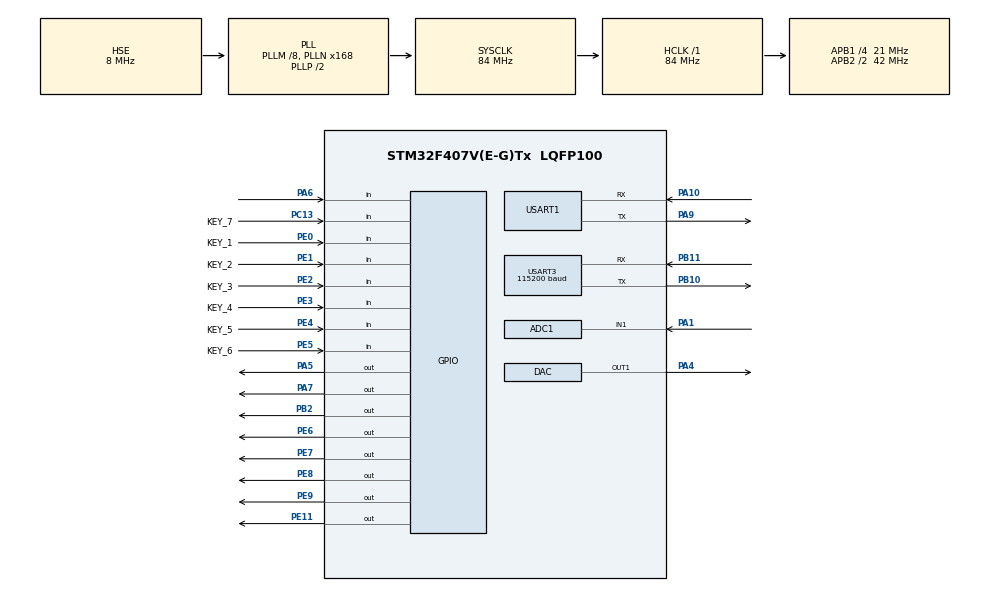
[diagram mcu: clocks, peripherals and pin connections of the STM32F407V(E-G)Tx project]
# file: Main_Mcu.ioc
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ADC1.Channel-0\#ChannelRegularConversion=ADC_CHANNEL_1
ADC1.NbrOfConversionFlag=1
ADC1.Rank-0\#ChannelRegularConversion=1
ADC1.SamplingTime-0\#ChannelRegularConversion=ADC_SAMPLETIME_3CYCLES
ADC1.master=1
DAC.DAC_OutputBuffer=DAC_OUTPUTBUFFER_DISABLE
Dma.Request0=USART3_TX
Dma.Request1=USART3_RX
Dma.Request2=USART1_RX
Dma.USART1_RX.2.Direction=DMA_PERIPH_TO_MEMORY
Dma.USART1_RX.2.FIFOMode=DMA_FIFOMODE_DISABLE
Dma.USART1_RX.2.Instance=DMA2_Stream2
Dma.USART1_RX.2.MemDataAlignment=DMA_MDATAALIGN_BYTE
Dma.USART1_RX.2.MemInc=DMA_MINC_ENABLE
Dma.USART1_RX.2.Mode=DMA_NORMAL
Dma.USART1_RX.2.PeriphDataAlignment=DMA_PDATAALIGN_BYTE
Dma.USART1_RX.2.PeriphInc=DMA_PINC_DISABLE
Dma.USART1_RX.2.Priority=DMA_PRIORITY_LOW
Dma.USART3_RX.1.Direction=DMA_PERIPH_TO_MEMORY
Dma.USART3_RX.1.FIFOMode=DMA_FIFOMODE_DISABLE
Dma.USART3_RX.1.Instance=DMA1_Stream1
Dma.USART3_RX.1.MemDataAlignment=DMA_MDATAALIGN_BYTE
Dma.USART3_RX.1.MemInc=DMA_MINC_ENABLE
Dma.USART3_RX.1.Mode=DMA_NORMAL
Dma.USART3_RX.1.PeriphDataAlignment=DMA_PDATAALIGN_BYTE
Dma.USART3_RX.1.PeriphInc=DMA_PINC_DISABLE
Dma.USART3_RX.1.Priority=DMA_PRIORITY_LOW
Dma.USART3_TX.0.Direction=DMA_MEMORY_TO_PERIPH
Dma.USART3_TX.0.FIFOMode=DMA_FIFOMODE_DISABLE
Dma.USART3_TX.0.Instance=DMA1_Stream3
Dma.USART3_TX.0.MemDataAlignment=DMA_MDATAALIGN_BYTE
Dma.USART3_TX.0.MemInc=DMA_MINC_ENABLE
Dma.USART3_TX.0.Mode=DMA_NORMAL
Dma.USART3_TX.0.PeriphDataAlignment=DMA_PDATAALIGN_BYTE
Dma.USART3_TX.0.PeriphInc=DMA_PINC_DISABLE
Dma.USART3_TX.0.Priority=DMA_PRIORITY_LOW
FREERTOS.Tasks01=defaultTask,0,128,StartDefaultTask,Default,NULL,Dynamic,NULL,NULL;LVGL_TASK,0,128,lvgl_task,As weak,NULL,Dynamic,NULL,NULL
FREERTOS.configUSE_TICK_HOOK=1
Mcu.Family=STM32F4
Mcu.Name=STM32F407V(E-G)Tx
Mcu.Package=LQFP100
NVIC.DMA1_Stream1_IRQn=true\:5\:0\:false\:false\:true\:true\:false\:true\:true
NVIC.DMA1_Stream3_IRQn=true\:5\:0\:false\:false\:true\:true\:false\:true\:true
NVIC.DMA2_Stream2_IRQn=true\:5\:0\:false\:false\:true\:true\:false\:true\:true
NVIC.PriorityGroup=NVIC_PRIORITYGROUP_4
NVIC.TIM1_UP_TIM10_IRQn=true\:15\:0\:false\:false\:true\:false\:false\:true\:true
NVIC.TimeBase=TIM1_UP_TIM10_IRQn
NVIC.TimeBaseIP=TIM1
NVIC.USART1_IRQn=true\:5\:0\:false\:false\:true\:true\:true\:true\:true
NVIC.USART3_IRQn=true\:5\:0\:false\:false\:true\:true\:true\:true\:true
PA1.Signal=ADCx_IN1
PA10.Mode=Asynchronous
PA10.Signal=USART1_RX
PA13.Mode=Serial_Wire
PA13.Signal=SYS_JTMS-SWDIO
PA14.Mode=Serial_Wire
PA14.Signal=SYS_JTCK-SWCLK
PA4.Signal=COMP_DAC1_group
PA5.PinState=GPIO_PIN_SET
PA5.Signal=GPIO_Output
PA6.Signal=GPIO_Input
PA7.PinState=GPIO_PIN_SET
PA7.Signal=GPIO_Output
PA9.Mode=Asynchronous
PA9.Signal=USART1_TX
PB10.Mode=Asynchronous
PB10.Signal=USART3_TX
PB11.Mode=Asynchronous
PB11.Signal=USART3_RX
PB2.Signal=GPIO_Output
PC13-ANTI_TAMP.GPIO_Label=KEY_7
PC13-ANTI_TAMP.Signal=GPIO_Input
PE0.GPIO_Label=KEY_1
PE0.Signal=GPIO_Input
PE1.GPIO_Label=KEY_2
PE1.Signal=GPIO_Input
PE11.GPIO_ModeDefaultOutputPP=GPIO_MODE_OUTPUT_OD
PE11.GPIO_PuPd=GPIO_NOPULL
PE11.GPIO_Speed=GPIO_SPEED_FREQ_HIGH
PE11.Signal=GPIO_Output
PE2.GPIO_Label=KEY_3
PE2.Signal=GPIO_Input
PE3.GPIO_Label=KEY_4
PE3.Signal=GPIO_Input
PE4.GPIO_Label=KEY_5
PE4.Signal=GPIO_Input
PE5.GPIO_Label=KEY_6
PE5.Signal=GPIO_Input
PE6.PinState=GPIO_PIN_SET
PE6.Signal=GPIO_Output
PE7.PinState=GPIO_PIN_SET
PE7.Signal=GPIO_Output
PE8.PinState=GPIO_PIN_SET
PE8.Signal=GPIO_Output
PE9.GPIO_ModeDefaultOutputPP=GPIO_MODE_OUTPUT_PP
PE9.GPIO_PuPd=GPIO_NOPULL
PE9.GPIO_Speed=GPIO_SPEED_FREQ_HIGH
PE9.PinState=GPIO_PIN_SET
PE9.Signal=GPIO_Output
PH0-OSC_IN.Mode=HSE-External-Oscillator
PH0-OSC_IN.Signal=RCC_OSC_IN
PH1-OSC_OUT.Mode=HSE-External-Oscillator
PH1-OSC_OUT.Signal=RCC_OSC_OUT
ProjectManager.HeapSize=0x400
ProjectManager.StackSize=0x4000
ProjectManager.TargetToolchain=MDK-ARM V5.32
RCC.48MHZClocksFreq_Value=42000000
RCC.AHBFreq_Value=84000000
RCC.APB1CLKDivider=RCC_HCLK_DIV4
RCC.APB1Freq_Value=21000000
RCC.APB1TimFreq_Value=42000000
RCC.APB2CLKDivider=RCC_HCLK_DIV2
RCC.APB2Freq_Value=42000000
RCC.APB2TimFreq_Value=84000000
RCC.CortexFreq_Value=84000000
RCC.HCLKFreq_Value=84000000
RCC.HSE_VALUE=8000000
RCC.HSI_VALUE=16000000
RCC.LSE_VALUE=32768
RCC.PLLM=8
RCC.PLLN=168
RCC.PLLSourceVirtual=RCC_PLLSOURCE_HSE
RCC.SYSCLKFreq_VALUE=84000000
RCC.SYSCLKSource=RCC_SYSCLKSOURCE_PLLCLK
RCC.VCOOutputFreq_Value=168000000
SH.ADCx_IN1.0=ADC1_IN1,IN1
SH.COMP_DAC1_group.0=DAC_OUT1,DAC_OUT1
USART1.VirtualMode=VM_ASYNC
USART3.BaudRate=115200
USART3.VirtualMode=VM_ASYNC
VP_FREERTOS_VS_CMSIS_V1.Mode=CMSIS_V1
VP_SYS_VS_tim1.Mode=TIM1
board=custom

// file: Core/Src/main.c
/* USER CODE BEGIN Header */
/**
  ******************************************************************************
  * @file           : main.c
  * @brief          : Main program body
  ******************************************************************************
  * @attention
  *
  * Copyright (c) 2025 STMicroelectronics.
  * All rights reserved.
  *
  * This software is licensed under terms that can be found in the LICENSE file
  * in the root directory of this software component.
  * If no LICENSE file comes with this software, it is provided AS-IS.
  *
  ******************************************************************************
  */
/* USER CODE END Header */
#include "main.h"
#include "cmsis_os.h"
#include "adc.h"
#include "dac.h"
#include "dma.h"
#include "usart.h"
#include "gpio.h"

/* USER CODE BEGIN Includes */

#define FRAME_START_BYTE 0xAA
#define MAX_FRAME_LENGTH 32

#include "lvgl_task.h"

/* USER CODE END Includes */

void SystemClock_Config(void);
void MX_FREERTOS_Init(void);
/* USER CODE BEGIN PFP */
uint8_t receive_data_R[80];
uint8_t rxBuffer[50];
uint8_t rxIndex = 0;
uint8_t frameReceived = 0;

float current=0.1;
uint16_t dac_set;
/* USER CODE END PFP */

int main(void)
{

  /* MCU Configuration--------------------------------------------------------*/

  /* Reset of all peripherals, Initializes the Flash interface and the Systick. */
  HAL_Init();

  /* Configure the system clock */
  SystemClock_Config();

  /* Initialize all configured peripherals */
  MX_GPIO_Init();
  MX_DMA_Init();
  MX_USART3_UART_Init();
  MX_USART1_UART_Init();
  MX_DAC_Init();
  MX_ADC1_Init();
  /* USER CODE BEGIN 2 */

   __HAL_UART_ENABLE_IT(&huart3, UART_IT_IDLE);
    HAL_UART_Receive_DMA(&huart1, rxBuffer, MAX_FRAME_LENGTH);

   UART_Start_Receive_DMA(&huart3, receive_data_R, 80);
	 HAL_GPIO_WritePin(GPIOA,GPIO_PIN_7,0);

	 	dac_set=4095*((current/5.0f)/2.1f);
	  HAL_DAC_SetValue(&hdac, DAC_CHANNEL_1, DAC_ALIGN_12B_R, dac_set);//(x/4096)*2.1v
    HAL_DAC_Start(&hdac, DAC_CHANNEL_1);

		lvgl_task();

  /* USER CODE END 2 */

  /* Call init function for freertos objects (in cmsis_os2.c) */
  MX_FREERTOS_Init();

  /* Start scheduler */
  osKernelStart();

  /* We should never get here as control is now taken by the scheduler */

  /* Infinite loop */
  while (1)
  {

  }
}

void SystemClock_Config(void)
{
  RCC_OscInitTypeDef RCC_OscInitStruct = {0};
  RCC_ClkInitTypeDef RCC_ClkInitStruct = {0};

  /** Configure the main internal regulator output voltage
  */
  __HAL_RCC_PWR_CLK_ENABLE();
  __HAL_PWR_VOLTAGESCALING_CONFIG(PWR_REGULATOR_VOLTAGE_SCALE1);

  /** Initializes the RCC Oscillators according to the specified parameters
  * in the RCC_OscInitTypeDef structure.
  */
  RCC_OscInitStruct.OscillatorType = RCC_OSCILLATORTYPE_HSE;
  RCC_OscInitStruct.HSEState = RCC_HSE_ON;
  RCC_OscInitStruct.PLL.PLLState = RCC_PLL_ON;
  RCC_OscInitStruct.PLL.PLLSource = RCC_PLLSOURCE_HSE;
  RCC_OscInitStruct.PLL.PLLM = 8;
  RCC_OscInitStruct.PLL.PLLN = 168;
  RCC_OscInitStruct.PLL.PLLP = RCC_PLLP_DIV2;
  RCC_OscInitStruct.PLL.PLLQ = 4;
  if (HAL_RCC_OscConfig(&RCC_OscInitStruct) != HAL_OK)
  {
    Error_Handler();
  }

  /** Initializes the CPU, AHB and APB buses clocks
  */
  RCC_ClkInitStruct.ClockType = RCC_CLOCKTYPE_HCLK|RCC_CLOCKTYPE_SYSCLK
                              |RCC_CLOCKTYPE_PCLK1|RCC_CLOCKTYPE_PCLK2;
  RCC_ClkInitStruct.SYSCLKSource = RCC_SYSCLKSOURCE_PLLCLK;
  RCC_ClkInitStruct.AHBCLKDivider = RCC_SYSCLK_DIV1;
  RCC_ClkInitStruct.APB1CLKDivider = RCC_HCLK_DIV4;
  RCC_ClkInitStruct.APB2CLKDivider = RCC_HCLK_DIV2;

  if (HAL_RCC_ClockConfig(&RCC_ClkInitStruct, FLASH_LATENCY_2) != HAL_OK)
  {
    Error_Handler();
  }
}

/* USER CODE BEGIN 4 */

void HAL_UART_RxCpltCallback(UART_HandleTypeDef* huart)
{
    if (huart->Instance == USART1)
    {
        uint8_t receivedByte = rxBuffer[rxIndex];
        if (rxIndex == 0 && receivedByte != FRAME_START_BYTE)
        {
            HAL_UART_Receive_DMA(&huart1, &rxBuffer[rxIndex], 1);
            return;
        }

        rxIndex++;
        if (rxIndex >= MAX_FRAME_LENGTH)
        {
            // �������������������
            rxIndex = 0;
            HAL_UART_Receive_DMA(&huart1, &rxBuffer[rxIndex], 1);
            return;
        }

        if (rxIndex > 3)
        {
            // �������ݳ����ֶ�ȷ���������
            uint8_t expectedLength = rxBuffer[3] + 6;
            if (rxIndex == expectedLength)
            {
                frameReceived = 1;
                HAL_UART_Receive_DMA(&huart1, &rxBuffer[rxIndex], 1); // ���¿�ʼ����
                return;
            }
        }

        HAL_UART_Receive_DMA(&huart1, &rxBuffer[rxIndex], 1);
    }
}
/* USER CODE END 4 */

void HAL_TIM_PeriodElapsedCallback(TIM_HandleTypeDef *htim)
{
  if (htim->Instance == TIM1) {
    HAL_IncTick();
  }
}

void Error_Handler(void)
{
  __disable_irq();
  while (1)
  {
  }
}

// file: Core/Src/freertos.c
/* USER CODE BEGIN Header */
/**
  ******************************************************************************
  * File Name          : freertos.c
  * Description        : Code for freertos applications
  ******************************************************************************
  * @attention
  *
  * Copyright (c) 2025 STMicroelectronics.
  * All rights reserved.
  *
  * This software is licensed under terms that can be found in the LICENSE file
  * in the root directory of this software component.
  * If no LICENSE file comes with this software, it is provided AS-IS.
  *
  ******************************************************************************
  */
/* USER CODE END Header */

#include "FreeRTOS.h"
#include "task.h"
#include "main.h"
#include "cmsis_os.h"

/* USER CODE BEGIN Includes */

#include "lvgl.h"
#include "lv_port_disp_template.h"

/* USER CODE END Includes */

osThreadId defaultTaskHandle;
osThreadId LVGL_TASKHandle;

void StartDefaultTask(void const * argument);
void lvgl_task(void const * argument);

void MX_FREERTOS_Init(void); /* (MISRA C 2004 rule 8.1) */

/* GetIdleTaskMemory prototype (linked to static allocation support) */
void vApplicationGetIdleTaskMemory( StaticTask_t **ppxIdleTaskTCBBuffer, StackType_t **ppxIdleTaskStackBuffer, uint32_t *pulIdleTaskStackSize );

/* Hook prototypes */
void vApplicationTickHook(void);

/* USER CODE BEGIN 3 */
void vApplicationTickHook( void )
{
   /* This function will be called by each tick interrupt if
   configUSE_TICK_HOOK is set to 1 in FreeRTOSConfig.h. User code can be
   added here, but the tick hook is called from an interrupt context, so
   code must not attempt to block, and only the interrupt safe FreeRTOS API
   functions can be used (those that end in FromISR()). */
	lv_tick_inc(1);         //lvgl heart beat
}
/* USER CODE END 3 */

/* USER CODE BEGIN GET_IDLE_TASK_MEMORY */
static StaticTask_t xIdleTaskTCBBuffer;
static StackType_t xIdleStack[configMINIMAL_STACK_SIZE];

void vApplicationGetIdleTaskMemory( StaticTask_t **ppxIdleTaskTCBBuffer, StackType_t **ppxIdleTaskStackBuffer, uint32_t *pulIdleTaskStackSize )
{
  *ppxIdleTaskTCBBuffer = &xIdleTaskTCBBuffer;
  *ppxIdleTaskStackBuffer = &xIdleStack[0];
  *pulIdleTaskStackSize = configMINIMAL_STACK_SIZE;
  /* place for user code */
}
/* USER CODE END GET_IDLE_TASK_MEMORY */

void MX_FREERTOS_Init(void) {

  /* Create the thread(s) */
  /* definition and creation of defaultTask */
  osThreadDef(defaultTask, StartDefaultTask, osPriorityNormal, 0, 128);
  defaultTaskHandle = osThreadCreate(osThread(defaultTask), NULL);

  /* definition and creation of LVGL_TASK */
  osThreadDef(LVGL_TASK, lvgl_task, osPriorityNormal, 0, 128);
  LVGL_TASKHandle = osThreadCreate(osThread(LVGL_TASK), NULL);

}

void StartDefaultTask(void const * argument)
{
  /* USER CODE BEGIN StartDefaultTask */

  /* Infinite loop */
  for(;;)
  {

    osDelay(2);
  }
  /* USER CODE END StartDefaultTask */
}

__weak void lvgl_task(void const * argument)
{
  for(;;)
  {
    osDelay(1);
  }
}

/* USER CODE BEGIN Application */
void Led_task(void *argument)
{
  /* USER CODE BEGIN StartTask02 */

 /* Infinite loop */
  for(;;)
  {

    osDelay(2);
  }
  /* USER CODE END StartTask02 */
}

/* USER CODE END Application */
